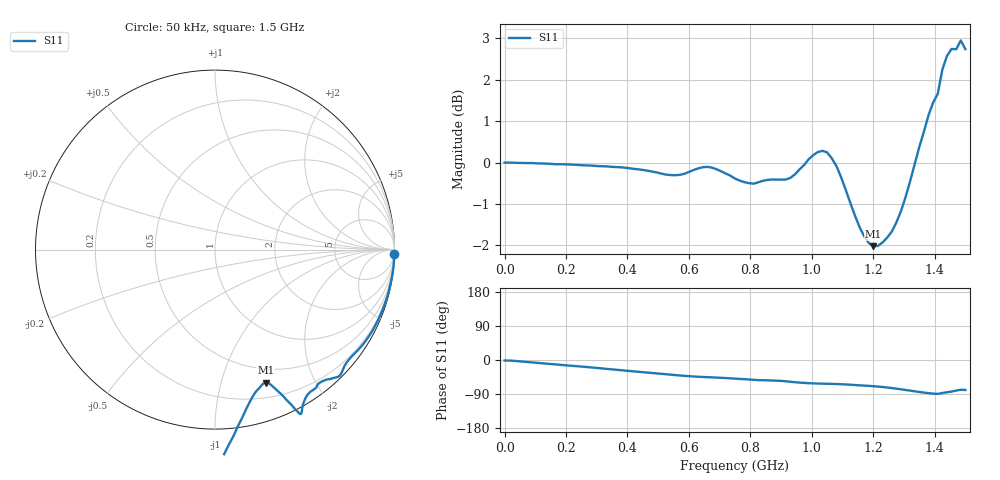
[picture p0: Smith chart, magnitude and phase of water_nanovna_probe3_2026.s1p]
! Touchstone S1P file exported from NanoVNA UTN Toolkit
! Device: NanoVNA-H
! Export date: 2026-10-13 12:39:00
! Frequency range: 0.050 - 1500.000 MHz
! Number of points: 101
! Parameter: S11 (Reflection)
# Hz S RI R 50
! f[Hz]  S11_real S11_imag
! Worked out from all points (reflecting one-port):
!   101 points, 50 kHz to 1.5 GHz, reference 50 ohm
!   lowest |S11| = -2.0 dB at 1.2 GHz (marker M1), VSWR 8.64, Z = 17.5 - j69.6 ohm
!   phase of S11 starts at -1 deg and turns -78 deg over the sweep
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50000  0.9998 -0.0228
3.0049e7  0.999 -0.0377
1.950435e8  0.967 -0.2355
3.750375e8  0.8823 -0.4429
5.70031e8  0.7316 -0.6315
6.450285e8  0.7006 -0.6958
7.50025e8  0.6261 -0.7233
8.250225e8  0.5684 -0.7569
9.0002e8  0.5462 -0.7821
9.450185e8  0.5046 -0.8258
1.005016e9  0.4845 -0.8991
1.050015e9  0.4706 -0.9149
1.080014e9  0.444 -0.8858
1.140012e9  0.3513 -0.7894
1.170011e9  0.3117 -0.7534
1.20001e9  0.2824 -0.7406
1.230009e9  0.2581 -0.7579
1.260008e9  0.2263 -0.7934
1.290007e9  0.1921 -0.8518
1.320006e9  0.1515 -0.9369
1.380004e9  0.0509 -1.14
1.410003e9  0.0112 -1.211
1.425002e9  0.0692 -1.293
1.440002e9  0.1122 -1.341
1.455002e9  0.1612 -1.363
1.470001e9  0.2232 -1.352
1.485e9  0.2798 -1.377
1.5e9  0.2588 -1.347
